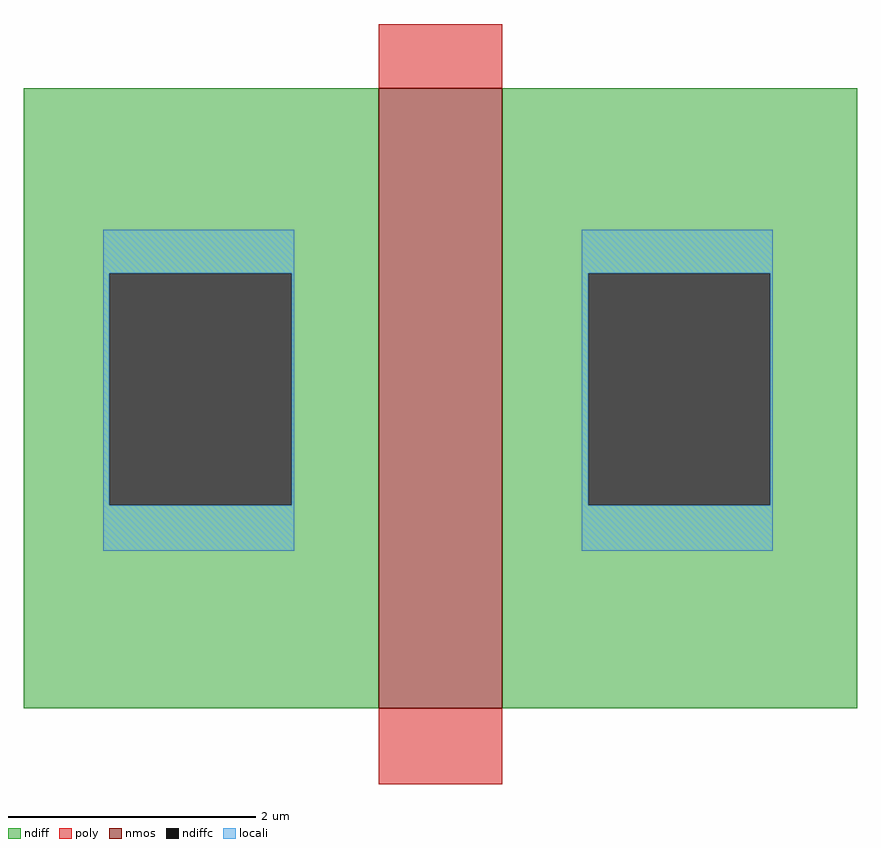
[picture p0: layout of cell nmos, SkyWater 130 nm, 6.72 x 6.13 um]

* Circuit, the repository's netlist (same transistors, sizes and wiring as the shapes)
* SPICE3 file created from nmos.ext - technology: sky130A

X0 a_1_14# a_n99_n47# a_n385_14# SUB sky130_fd_pr__nfet_01v8 ad=0p pd=0u as=0p ps=0u w=5e+06u l=1e+06u

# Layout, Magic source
magic
tech sky130A
<< nmos >>
rect -99 14 1 514
<< ndiff >>
rect -385 365 -99 514
rect -385 178 -316 365
rect -169 178 -99 365
rect -385 14 -99 178
rect 1 365 287 514
rect 1 178 70 365
rect 217 178 287 365
rect 1 14 287 178
<< ndiffc >>
rect -316 178 -169 365
rect 70 178 217 365
<< poly >>
rect -99 514 1 566
rect -99 -47 1 14
<< locali >>
rect -321 365 -167 400
rect -321 178 -316 365
rect -169 178 -167 365
rect -321 141 -167 178
rect 65 365 219 400
rect 65 178 70 365
rect 217 178 219 365
rect 65 141 219 178
<< end >>
